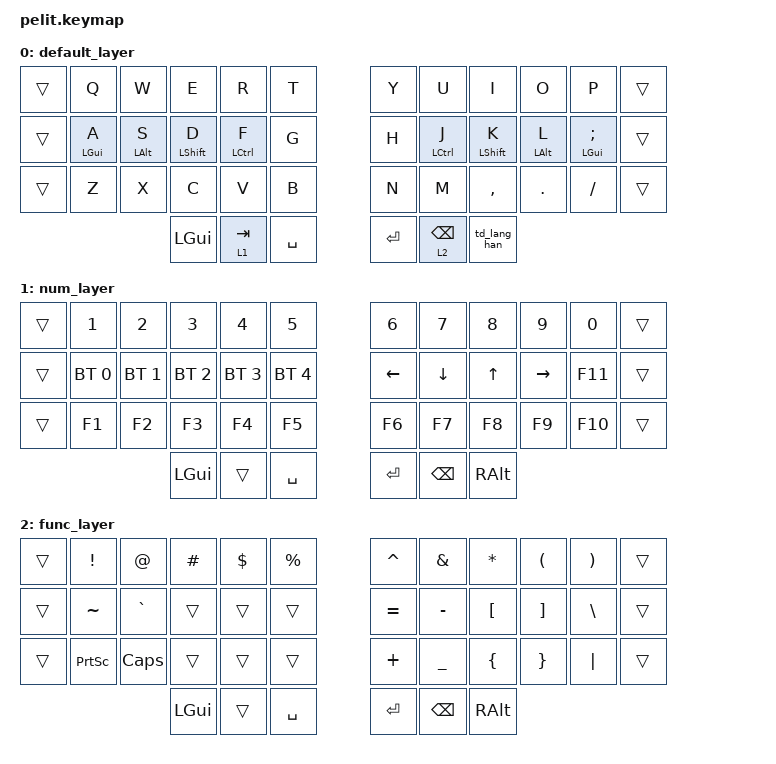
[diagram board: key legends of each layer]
/*
 * Copyright (c) 2020 The ZMK Contributors
 *
 * SPDX-License-Identifier: MIT
 */

#include <behaviors.dtsi>
#include <dt-bindings/zmk/bt.h>
#include <dt-bindings/zmk/keys.h>

/ {
    combos {
        compatible = "zmk,combos";

        f1 {
            bindings = <&kp F1>;
            key-positions = <1 13>;
            require-prior-idle-ms = <100>;
        };

        f2 {
            bindings = <&kp F2>;
            key-positions = <2 14>;
            require-prior-idle-ms = <100>;
        };

        f3 {
            bindings = <&kp F3>;
            key-positions = <3 15>;
            require-prior-idle-ms = <100>;
        };

        f4 {
            bindings = <&kp F4>;
            key-positions = <4 16>;
            require-prior-idle-ms = <100>;
        };

        f5 {
            bindings = <&kp F5>;
            key-positions = <17 5>;
            require-prior-idle-ms = <100>;
        };

        f6 {
            bindings = <&kp F6>;
            key-positions = <18 6>;
            require-prior-idle-ms = <100>;
        };

        f7 {
            bindings = <&kp F7>;
            key-positions = <7 19>;
            require-prior-idle-ms = <100>;
        };

        f8 {
            bindings = <&kp F8>;
            key-positions = <20 8>;
            require-prior-idle-ms = <100>;
        };

        f9 {
            bindings = <&kp F9>;
            key-positions = <9 21>;
            require-prior-idle-ms = <100>;
        };

        f10 {
            bindings = <&kp F10>;
            key-positions = <10 22>;
            require-prior-idle-ms = <100>;
        };

        f11 {
            bindings = <&kp F11>;
            key-positions = <1 25>;
            require-prior-idle-ms = <100>;
        };

        f12 {
            bindings = <&kp F12>;
            key-positions = <26 2>;
            require-prior-idle-ms = <100>;
        };

        esc {
            bindings = <&kp ESC>;
            key-positions = <1 2>;
            require-prior-idle-ms = <100>;
        };

        left {
            bindings = <&kp LEFT>;
            key-positions = <19 20>;
            require-prior-idle-ms = <100>;
        };

        up {
            bindings = <&kp UP>;
            key-positions = <7 8>;
            require-prior-idle-ms = <100>;
        };

        down {
            bindings = <&kp DOWN>;
            key-positions = <31 32>;
            require-prior-idle-ms = <100>;
        };

        right {
            bindings = <&kp RIGHT>;
            key-positions = <21 20>;
            require-prior-idle-ms = <100>;
        };

        home {
            bindings = <&kp HOME>;
            key-positions = <19 18>;
            require-prior-idle-ms = <100>;
        };

        end {
            bindings = <&kp END>;
            key-positions = <22 21>;
            require-prior-idle-ms = <100>;
        };

        del {
            bindings = <&kp DEL>;
            key-positions = <10 9>;
            require-prior-idle-ms = <100>;
        };

        pageup {
            bindings = <&kp PAGE_UP>;
            key-positions = <8 9>;
        };

        pagedown {
            bindings = <&kp PAGE_DOWN>;
            key-positions = <32 33>;
        };

        btclr {
            bindings = <&bt BT_CLR>;
            key-positions = <13 17>;
            layers = <1>;
        };

        dot {
            bindings = <&kp SQT>;
            key-positions = <33 34>;
        };
    };

    behaviors {
        hr: hr {
            compatible = "zmk,behavior-hold-tap";
            label = "HR";
            bindings = <&kp>, <&kp>;

            #binding-cells = <2>;
            tapping-term-ms = <200>;
            quick-tap-ms = <130>;
            flavor = "tap-preferred";
        };

        td_lang_han: td_lang_han {
            compatible = "zmk,behavior-tap-dance";
            label = "TD_LANG_HAN";
            #binding-cells = <0>;
            bindings = <&kp RALT>, <&kp RCTRL>;

            tapping-term-ms = <150>;
        };
    };

    keymap {
        compatible = "zmk,keymap";

        default_layer {
            // -----------------------------------------------------------------------------------------
            // |  TAB |  Q  |  W  |  E  |  R  |  T  |   |  Y  |  U   |  I  |  O  |  P  | BSPC |
            // | CTRL |  A  |  S  |  D  |  F  |  G  |   |  H  |  J   |  K  |  L  |  ;  |  '   |
            // | SHFT |  Z  |  X  |  C  |  V  |  B  |   |  N  |  M   |  ,  |  .  |  /  | ESC  |
            //                    | GUI | LWR | SPC |   | ENT | RSE  | ALT |

            bindings = <
&trans  &kp Q           &kp W           &kp E             &kp R        &kp T        &kp Y    &kp U            &kp I             &kp O           &kp P                   &trans
&trans  &hr LEFT_GUI A  &hr LEFT_ALT S  &hr LEFT_SHIFT D  &hr LCTRL F  &kp G        &kp H    &hr LCTRL J      &hr LEFT_SHIFT K  &hr LEFT_ALT L  &hr LEFT_GUI SEMICOLON  &trans
&trans  &kp Z           &kp X           &kp C             &kp V        &kp B        &kp N    &kp M            &kp COMMA         &kp DOT         &kp FSLH                &trans
                                        &kp LGUI          &lt 1 TAB    &kp SPACE    &kp RET  &lt 2 BACKSPACE  &td_lang_han
            >;
        };

        num_layer {
            // -----------------------------------------------------------------------------------------
            // |  TAB |  1  |  2  |  3  |  4  |  5  |   |  6  |  7  |  8  |  9  |  0  | BSPC |
            // | BTCLR| BT1 | BT2 | BT3 | BT4 | BT5 |   | LFT | DWN |  UP | RGT | F11 | F12  |
            // | SHFT | F1  | F2  | F3  | F4  | F5  |   | F6  | F7  |  F8 | F9  | F10 | PRSC |
            //                    | GUI |     | SPC |   | ENT |     | ALT |

            bindings = <
&trans  &kp N1        &kp N2        &kp N3        &kp N4        &kp N5          &kp N6    &kp N7         &kp N8    &kp N9     &kp N0   &trans
&trans  &bt BT_SEL 0  &bt BT_SEL 1  &bt BT_SEL 2  &bt BT_SEL 3  &bt BT_SEL 4    &kp LEFT  &kp DOWN       &kp UP    &kp RIGHT  &kp F11  &trans
&trans  &kp F1        &kp F2        &kp F3        &kp F4        &kp F5          &kp F6    &kp F7         &kp F8    &kp F9     &kp F10  &trans
                                    &kp LGUI      &trans        &kp SPACE       &kp RET   &kp BACKSPACE  &kp RALT
            >;
        };

        func_layer {
            // -----------------------------------------------------------------------------------------
            // |  TAB |  !  |  @  |  #  |  $  |  %  |   |  ^  |  &  |  *  |  (  |  )  | BSPC |
            // | CTRL |     |     |     |     |     |   |  -  |  =  |  [  |  ]  |  \  |  `   |
            // | SHFT |     |     |     |     |     |   |  _  |  +  |  {  |  }  | "|" |  ~   |
            //                    | GUI |     | SPC |   | ENT |     | ALT |

            bindings = <
&trans  &kp EXCL         &kp AT     &kp HASH  &kp DLLR  &kp PRCNT    &kp CARET  &kp AMPS        &kp ASTRK  &kp LPAR  &kp RPAR  &trans
&trans  &kp TILDE        &kp GRAVE  &trans    &trans    &trans       &kp EQUAL  &kp MINUS       &kp LBKT   &kp RBKT  &kp BSLH  &trans
&trans  &kp PRINTSCREEN  &kp CAPS   &trans    &trans    &trans       &kp PLUS   &kp UNDERSCORE  &kp LBRC   &kp RBRC  &kp PIPE  &trans
                                    &kp LGUI  &trans    &kp SPACE    &kp RET    &kp BACKSPACE   &kp RALT
            >;
        };
    };
};
